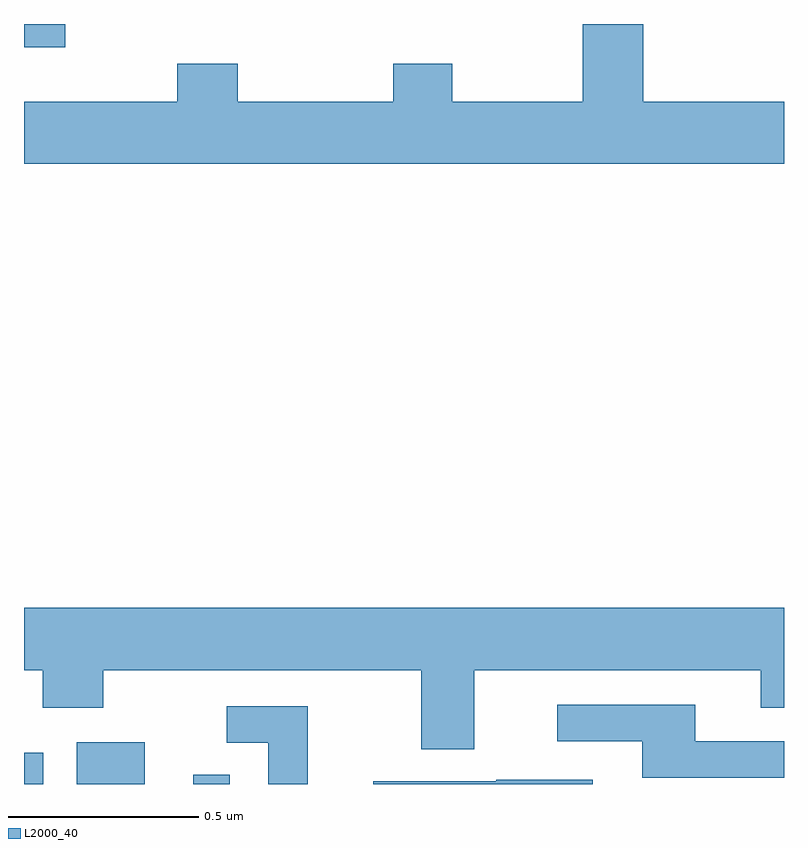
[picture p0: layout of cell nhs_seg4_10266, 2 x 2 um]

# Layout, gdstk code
import gdstk
lib = gdstk.Library(unit=1e-6, precision=1e-09)
def R(c, l, rs):  # rectangles x0, y0, x1, y1
    for r in rs: c.add(gdstk.rectangle(r[:2], r[2:], *l))
def P(c, l, *ps):  # polygons
    for p in ps: c.add(gdstk.Polygon(p, *l))
L2000_40 = (2000, 40)

nhs_seg4_10266 = lib.new_cell('nhs_seg4_10266')
R(nhs_seg4_10266, L2000_40, [(238,749.9,238.05,749.982), (238.139,749.9,238.318,750.01), (238.446,749.9,238.542,749.924), (238,751.839,238.109,751.9)])
P(nhs_seg4_10266, L2000_40, [(240,751.696),(239.63,751.696),(239.63,751.9),(239.47,751.9),(239.47,751.696),(239.127,751.696),(239.127,751.795),(238.972,751.795),(238.972,751.696),(238.563,751.696),(238.563,751.795),(238.403,751.795),(238.403,751.696),(238,751.696),(238,751.532),(240,751.532)],
  [(239.185,750.2),(239.939,750.2),(239.939,750.101),(240,750.101),(240,750.364),(238,750.364),(238,750.2),(238.049,750.2),(238.049,750.101),(238.209,750.101),(238.209,750.2),(239.045,750.2),(239.045,749.992),(239.185,749.992)],
  [(240,750.012),(239.767,750.012),(239.767,750.108),(239.403,750.108),(239.403,750.012),(239.627,750.012),(239.627,749.916),(240,749.916)],
  [(238.747,750.105),(238.533,750.105),(238.533,750.009),(238.643,750.009),(238.643,749.9),(238.747,749.9)],
  [(239.497,749.911),(239.243,749.911),(239.243,749.907),(238.919,749.907),(238.919,749.9),(239.497,749.9)])

lib.write_gds('nhs_seg4_10266.gds')
